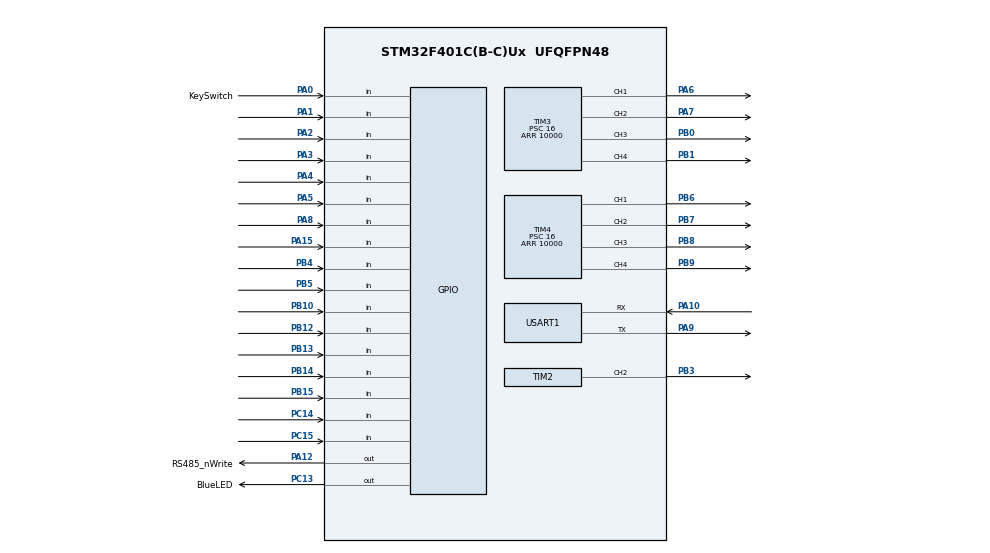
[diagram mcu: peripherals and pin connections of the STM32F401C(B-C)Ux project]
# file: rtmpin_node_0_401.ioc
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Dma.Request0=TIM2_CH2/CH4
Dma.TIM2_CH2/CH4.0.Direction=DMA_MEMORY_TO_PERIPH
Dma.TIM2_CH2/CH4.0.FIFOMode=DMA_FIFOMODE_DISABLE
Dma.TIM2_CH2/CH4.0.Instance=DMA1_Stream6
Dma.TIM2_CH2/CH4.0.MemDataAlignment=DMA_MDATAALIGN_WORD
Dma.TIM2_CH2/CH4.0.MemInc=DMA_MINC_ENABLE
Dma.TIM2_CH2/CH4.0.Mode=DMA_CIRCULAR
Dma.TIM2_CH2/CH4.0.PeriphDataAlignment=DMA_PDATAALIGN_WORD
Dma.TIM2_CH2/CH4.0.PeriphInc=DMA_PINC_DISABLE
Dma.TIM2_CH2/CH4.0.Priority=DMA_PRIORITY_HIGH
Mcu.Family=STM32F4
Mcu.Name=STM32F401C(B-C)Ux
Mcu.Package=UFQFPN48
Mcu.UserConstants=SOLFORCE25,4300;SOLFORCE50,7500
NVIC.DMA1_Stream6_IRQn=true\:0\:0\:false\:false\:true\:false\:true
NVIC.PriorityGroup=NVIC_PRIORITYGROUP_4
NVIC.USART1_IRQn=true\:8\:0\:true\:false\:true\:true\:true
PA0-WKUP.GPIO_Label=KeySwitch
PA0-WKUP.Signal=GPIO_Input
PA1.GPIO_PuPd=GPIO_PULLUP
PA1.Signal=GPIO_Input
PA10.Mode=Asynchronous
PA10.Signal=USART1_RX
PA11.Signal=S_TIM1_CH4
PA12.GPIO_Label=RS485_nWrite
PA12.GPIO_PuPd=GPIO_NOPULL
PA12.Signal=GPIO_Output
PA13.Mode=Serial_Wire
PA13.Signal=SYS_JTMS-SWDIO
PA14.Mode=Serial_Wire
PA14.Signal=SYS_JTCK-SWCLK
PA15.GPIO_PuPd=GPIO_PULLUP
PA15.Signal=GPIO_Input
PA2.GPIO_PuPd=GPIO_PULLUP
PA2.Signal=GPIO_Input
PA3.GPIO_PuPd=GPIO_PULLUP
PA3.Signal=GPIO_Input
PA4.GPIO_PuPd=GPIO_PULLUP
PA4.Signal=GPIO_Input
PA5.GPIO_PuPd=GPIO_PULLUP
PA5.Signal=GPIO_Input
PA6.Signal=S_TIM3_CH1
PA7.Signal=S_TIM3_CH2
PA8.GPIO_PuPd=GPIO_PULLUP
PA8.Signal=GPIO_Input
PA9.Mode=Asynchronous
PA9.Signal=USART1_TX
PB0.Signal=S_TIM3_CH3
PB1.Signal=S_TIM3_CH4
PB10.GPIO_PuPd=GPIO_PULLUP
PB10.Signal=GPIO_Input
PB12.GPIO_PuPd=GPIO_PULLUP
PB12.Signal=GPIO_Input
PB13.GPIO_PuPd=GPIO_PULLUP
PB13.Signal=GPIO_Input
PB14.GPIO_PuPd=GPIO_PULLUP
PB14.Signal=GPIO_Input
PB15.GPIO_PuPd=GPIO_PULLUP
PB15.Signal=GPIO_Input
PB3.Signal=S_TIM2_CH2
PB4.GPIO_PuPd=GPIO_PULLUP
PB4.Signal=GPIO_Input
PB5.GPIO_PuPd=GPIO_PULLUP
PB5.Signal=GPIO_Input
PB6.Signal=S_TIM4_CH1
PB7.Signal=S_TIM4_CH2
PB8.Signal=S_TIM4_CH3
PB9.Signal=S_TIM4_CH4
PC13-ANTI_TAMP.GPIO_Label=BlueLED
PC13-ANTI_TAMP.Signal=GPIO_Output
PC14-OSC32_IN.GPIO_PuPd=GPIO_PULLUP
PC14-OSC32_IN.Signal=GPIO_Input
PC15-OSC32_OUT.GPIO_PuPd=GPIO_PULLUP
PC15-OSC32_OUT.Signal=GPIO_Input
PH0\ -\ OSC_IN.Mode=HSE-External-Oscillator
PH0\ -\ OSC_IN.Signal=RCC_OSC_IN
PH1\ -\ OSC_OUT.Mode=HSE-External-Oscillator
PH1\ -\ OSC_OUT.Signal=RCC_OSC_OUT
ProjectManager.HeapSize=0x200
ProjectManager.StackSize=0x400
ProjectManager.TargetToolchain=STM32CubeIDE
RCC.48MHZClocksFreq_Value=42000000
RCC.AHBFreq_Value=84000000
RCC.APB1CLKDivider=RCC_HCLK_DIV2
RCC.APB1Freq_Value=42000000
RCC.APB1TimFreq_Value=84000000
RCC.APB2Freq_Value=84000000
RCC.APB2TimFreq_Value=84000000
RCC.CortexFreq_Value=84000000
RCC.HCLKFreq_Value=84000000
RCC.HSE_VALUE=25000000
RCC.HSI_VALUE=16000000
RCC.LSE_VALUE=32768
RCC.PLLM=25
RCC.PLLN=168
RCC.PLLSourceVirtual=RCC_PLLSOURCE_HSE
RCC.SYSCLKFreq_VALUE=84000000
RCC.SYSCLKSource=RCC_SYSCLKSOURCE_PLLCLK
RCC.VCOOutputFreq_Value=168000000
SH.S_TIM1_CH4.0=TIM1_CH4
SH.S_TIM2_CH2.0=TIM2_CH2,PWM Generation2 CH2
SH.S_TIM3_CH1.0=TIM3_CH1,PWM Generation1 CH1
SH.S_TIM3_CH2.0=TIM3_CH2,PWM Generation2 CH2
SH.S_TIM3_CH3.0=TIM3_CH3,PWM Generation3 CH3
SH.S_TIM3_CH4.0=TIM3_CH4,PWM Generation4 CH4
SH.S_TIM4_CH1.0=TIM4_CH1,PWM Generation1 CH1
SH.S_TIM4_CH2.0=TIM4_CH2,PWM Generation2 CH2
SH.S_TIM4_CH3.0=TIM4_CH3,PWM Generation3 CH3
SH.S_TIM4_CH4.0=TIM4_CH4,PWM Generation4 CH4
TIM2.Channel-PWM\ Generation2\ CH2=TIM_CHANNEL_2
TIM2.Period=104
TIM2.Pulse-PWM\ Generation2\ CH2=0
TIM3.Channel-PWM\ Generation1\ CH1=TIM_CHANNEL_1
TIM3.Channel-PWM\ Generation2\ CH2=TIM_CHANNEL_2
TIM3.Channel-PWM\ Generation3\ CH3=TIM_CHANNEL_3
TIM3.Channel-PWM\ Generation4\ CH4=TIM_CHANNEL_4
TIM3.Period=10000
TIM3.Prescaler=16
TIM3.Pulse-PWM\ Generation1\ CH1=SOLFORCE25
TIM3.Pulse-PWM\ Generation2\ CH2=SOLFORCE50
TIM3.Pulse-PWM\ Generation3\ CH3=9000
TIM3.Pulse-PWM\ Generation4\ CH4=SOLFORCE25
TIM4.Channel-PWM\ Generation1\ CH1=TIM_CHANNEL_1
TIM4.Channel-PWM\ Generation2\ CH2=TIM_CHANNEL_2
TIM4.Channel-PWM\ Generation3\ CH3=TIM_CHANNEL_3
TIM4.Channel-PWM\ Generation4\ CH4=TIM_CHANNEL_4
TIM4.Period=10000
TIM4.Prescaler=16
TIM4.Pulse-PWM\ Generation1\ CH1=SOLFORCE25
TIM4.Pulse-PWM\ Generation2\ CH2=SOLFORCE25
TIM4.Pulse-PWM\ Generation3\ CH3=SOLFORCE50
TIM4.Pulse-PWM\ Generation4\ CH4=SOLFORCE50
USART1.VirtualMode=VM_ASYNC
VP_CRC_VS_CRC.Mode=CRC_Activate
VP_TIM2_VS_ClockSourceINT.Mode=Internal
VP_TIM3_VS_ClockSourceINT.Mode=Internal
VP_TIM4_VS_ClockSourceINT.Mode=Internal
board=custom

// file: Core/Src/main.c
/* USER CODE BEGIN Header */
/**
  ******************************************************************************
  * @file           : main.c
  * @brief          : Main program body
  ******************************************************************************
  * @attention
  *
  * Copyright (c) 2022 STMicroelectronics.
  * All rights reserved.
  *
  * This software is licensed under terms that can be found in the LICENSE file
  * in the root directory of this software component.
  * If no LICENSE file comes with this software, it is provided AS-IS.
  *
  ******************************************************************************
  */
/* USER CODE END Header */
#include "main.h"

CRC_HandleTypeDef hcrc;

/* USER CODE BEGIN PV */
uint8_t dataArrived = 0;
uint8_t currentRx = 0;

static uint32_t tmp_led_data[2*3*8];
static uint32_t current_led;        /*!< Current LED number we are sending */

uint32_t led[NR_OF_LEDS]; /* holds the color (0xWWRRGGBB) of all LEDs */

uint8_t rxBuffer[17]; /* addr&length + data (max 16) */
uint8_t rxBufferUpdated; /* new frame complete */
uint8_t nodeStatus; /*        * 0 -> standard (receiving) operation
                              * 1 -> send data to Pi
                              * 2 -> Software update of this node
                              * 3 -> Software update of other nodes */

/* USER CODE END PV */

void SystemClock_Config(void);
static void MX_GPIO_Init(void);
static void MX_DMA_Init(void);
static void MX_TIM2_Init(void);
static void MX_TIM3_Init(void);
static void MX_TIM4_Init(void);
static void MX_USART1_UART_Init(void);
static void MX_CRC_Init(void);

/* USER CODE BEGIN 0 */

/* Control of LED strips is  based on this idea: https://stm32f4-discovery.net/2018/06/tutorial-control-ws2812b-leds-stm32/ */
/**
 * \brief           Prepares data from memory for PWM output for timer
 * \note            Memory is in format R,G,B, while PWM must be configured in G,R,B
 * \param[in]       ledx: LED index to set the color
 * \param[out]      ptr: Output array with at least LED_CFG_RAW_BYTES_PER_LED-words of memory
 *
 */
static uint8_t led_fill_led_pwm_data(uint8_t ledx, uint32_t* ptr) {
    uint8_t i;

    if (ledx < NR_OF_LEDS) {
        for (i = 0; i < 8; i++) {
            ptr[i] =        (led[ledx] & (1 << (15 - i))) ? (2 * TIM2->ARR / 3) : (TIM2->ARR / 3);
            ptr[8 + i] =    (led[ledx] & (1 << (23 - i))) ? (2 * TIM2->ARR / 3) : (TIM2->ARR / 3);
            ptr[16 + i] =   (led[ledx] & (1 << (7 - i))) ? (2 * TIM2->ARR / 3) : (TIM2->ARR / 3);
        }
        return 1;
    }
    return 0;
}

/**
 * \brief           Update sequence function, called on each DMA transfer complete or half-transfer complete events
 * \param[in]       tc: Transfer complete flag. Set to `1` on TC event, or `0` on HT event
 *
 * \note            TC = Transfer-Complete event, called at the end of block
 * \note            HT = Half-Transfer-Complete event, called in the middle of elements transfered by DMA
 *                  If block is 48 elements (our case),
 *                      HT is called when first LED_CFG_RAW_BYTES_PER_LED elements are transfered,
 *                      TC is called when second LED_CFG_RAW_BYTES_PER_LED elements are transfered.
 *
 * \note            This function must be called from DMA interrupt
 */
void led_update_sequence(uint8_t tc) {
    tc = !!tc;                                  /* Convert to 1 or 0 value only */

    if (current_led < NR_OF_LEDS) {

			current_led++;
			/*
			 *  if there was no TC event (it was HT):
			 *
			 *  - Prepare first part of array, because either there is no transfer
			 *      or second part (from HT to TC) is now in process for PWM transfer
			 *
			 * In other case (TC = 1)
			 */
			if (!tc) {
				led_fill_led_pwm_data(current_led, &tmp_led_data[0]);
			} else {
				led_fill_led_pwm_data(current_led, &tmp_led_data[3*8]);
			}

	/*
	 * When we reached all leds, we have to wait to transmit data for all leds before we can disable DMA and PWM:
	 *
	 *  - If TC event is enabled and we have EVEN number of LEDS (2, 4, 6, ...)
	 *  - If HT event is enabled and we have ODD number of LEDS (1, 3, 5, ...)
	 */
	} else if ((!tc && (NR_OF_LEDS & 0x01)) || (tc && !(NR_OF_LEDS & 0x01))) {
		LL_TIM_CC_DisableChannel(TIM2, LL_TIM_CHANNEL_CH2); /* Disable channel */
		LL_TIM_DisableCounter(TIM2);
		LL_DMA_DisableStream(DMA1, LL_DMA_STREAM_6);
	}
}

/*
 * Process data after UART interrupt: byte received
 */
void handleSerialData() {
	static uint32_t lastTick;
	static uint8_t rxLength; /* number of data bytes to be received. addr&length not counted;  */
	static uint8_t rxByteNr;  /* index of received byte (start with 0) */
	static uint8_t rxAddress; /* node to be addressed, read from first byte */
	static uint8_t nodesSending; /* mode when nodes are sending and Pi is quiet */

	if ( (uwTick - lastTick) > 5 ) /* resync if there was no data for longer than 5 ms */
	{
		rxLength = 0;
		rxByteNr = 0;
		rxAddress = 0;
		nodesSending = 0;
	}
	lastTick = uwTick;

	if ( nodesSending ) {
		rxByteNr++;
		if ( rxByteNr == 2*NODE_ADDRESS ) { /* this node is about to send except if its node 0 */
			nodeStatus = 1;
			rxByteNr += 2;
		}
		if ( rxByteNr == 2*NR_OF_NODES ) { /* all nodes finished sending */
			nodesSending = 0;
			rxByteNr = 0;
		}
	} else {
		if ( rxByteNr == 0 ) {
			rxByteNr++;
			rxLength = currentRx & 0xf; /* get length */
			rxAddress = currentRx>>4;  /* get address */

			if ( rxLength == 0xf ) /* Software update */
			{
				rxLength = 16; /* 16 bytes, that it is a multiple of 4 (good for hardware-CRC calculation) */
				if ( rxAddress == NODE_ADDRESS )
				{
					nodeStatus = 2; /* Software update of this node */
				} else
				{
					nodeStatus = 3;  /* Software update of other node */
				}
			}

			if ( rxAddress == NODE_ADDRESS ) {
				rxBuffer[0] = currentRx;
			}

			if ( (rxAddress == 14) && (nodeStatus != 2) && (nodeStatus != 3) ) {
				if (NODE_ADDRESS == 0) { /* start sending if this is node 0 */
					nodeStatus = 1;
					rxByteNr = 2;
				} else {
					rxByteNr = 0;
				}
				if (NR_OF_NODES > 1) {
					nodesSending = 1; /* more nodes are connected */
				} else {
					rxByteNr = 0;  /* this is the one and only node */
				}
			}
		} else {
			if ( rxAddress == NODE_ADDRESS ) {
				rxBuffer[rxByteNr] = currentRx;
			}
			if (rxByteNr == rxLength) {
				rxByteNr = 0;
				if ( rxAddress == NODE_ADDRESS ) {
					rxBufferUpdated = 1;
				}
			} else {
				rxByteNr++;
			}
		}
	}

}

/* USER CODE END 0 */

int main(void)
{
  /* USER CODE BEGIN 1 */

	/* to be started form bootloader, see also
	 * https://embetronicx.com/tutorials/microcontrollers/stm32/bootloader/simple-stm32-bootloader-implementation-bootloader-tutorial/
	 * edit system_stm32f4xx.c as well to enter offset and #define USER_VECT_TAB_ADDRESS
	 * and edit linker script STM32F401CCUX_FLASH.ld */
	__disable_irq();
	SCB->VTOR = 0x8004000;
	__DSB();
	__enable_irq();

  /* USER CODE END 1 */

  /* MCU Configuration--------------------------------------------------------*/

  /* Reset of all peripherals, Initializes the Flash interface and the Systick. */
  HAL_Init();

  /* USER CODE BEGIN Init */
  rxBufferUpdated = 0;
  nodeStatus = 0;

  for (uint8_t bb = 0; bb < 17; bb++)
  {
	  rxBuffer[bb] = 0;
  }

  uint8_t txSwitchesByte1 = 0; /* all switches off */
  uint8_t txSwitchesByte2 = 0;
  uint8_t prevTxSwitchByte1 = 0;
  uint8_t prevTxSwitchByte2 = 0;
  uint8_t txByte1_transmitted = 0;
  uint32_t stReload;
  uint32_t stNow, stOld;
  uint32_t stTicks = 0;
  uint32_t slingPulse = 0;
  uint32_t readyToSendCounter = 0;
  uint32_t packetWatchDog = 0;

  /* USER CODE END Init */

  /* Configure the system clock */
  SystemClock_Config();

  /* Initialize all configured peripherals */
  MX_GPIO_Init();
  MX_DMA_Init();
  MX_TIM2_Init();
  MX_TIM3_Init();
  MX_TIM4_Init();
  MX_USART1_UART_Init();
  MX_CRC_Init();
  /* USER CODE BEGIN 2 */

  /* All outputs off */
  LL_TIM_CC_DisableChannel (TIM3, LL_TIM_CHANNEL_CH1);
  LL_TIM_CC_DisableChannel (TIM3, LL_TIM_CHANNEL_CH2);
  LL_TIM_CC_DisableChannel (TIM3, LL_TIM_CHANNEL_CH3);
  LL_TIM_CC_DisableChannel (TIM3, LL_TIM_CHANNEL_CH4);
  LL_TIM_CC_DisableChannel (TIM4, LL_TIM_CHANNEL_CH1);
  LL_TIM_CC_DisableChannel (TIM4, LL_TIM_CHANNEL_CH2);
  LL_TIM_CC_DisableChannel (TIM4, LL_TIM_CHANNEL_CH3);
  LL_TIM_CC_DisableChannel (TIM4, LL_TIM_CHANNEL_CH4);
  LL_TIM_EnableCounter(TIM3);
  LL_TIM_EnableCounter(TIM4);

  stOld = SysTick->VAL;
  stReload = SysTick->LOAD;

  /* USER CODE END 2 */

  /* Infinite loop */
  /* USER CODE BEGIN WHILE */
  while (1)
  {
		/* count systicks. Only works that easy as the while loop is shorter
		 * than 1 ms!! Ohterwise make a systick interrupt or use uwtick (overflow
		 * only after 30 days
		 */
	    stNow = SysTick->VAL;
		if( stNow != stOld )
		{
			if ( stNow < stOld )
			{
				stTicks = (stOld - stNow);
			}
			else
			{
				stTicks = (stReload - stNow + stOld);
			}
			stOld = stNow;
		}

		if(dataArrived)
		{
			dataArrived = 0;
			handleSerialData();
		}

		/* ---------- SW update  ----------- */

		if (rxBufferUpdated && (nodeStatus == 3) ) /* Software update of other node */
		{
			  NVIC_DisableIRQ(USART1_IRQn);
			  /* All outputs off */
			  LL_TIM_CC_DisableChannel (TIM3, LL_TIM_CHANNEL_CH1);
			  LL_TIM_CC_DisableChannel (TIM3, LL_TIM_CHANNEL_CH2);
			  LL_TIM_CC_DisableChannel (TIM3, LL_TIM_CHANNEL_CH3);
			  LL_TIM_CC_DisableChannel (TIM3, LL_TIM_CHANNEL_CH4);
			  LL_TIM_CC_DisableChannel (TIM4, LL_TIM_CHANNEL_CH1);
			  LL_TIM_CC_DisableChannel (TIM4, LL_TIM_CHANNEL_CH2);
			  LL_TIM_CC_DisableChannel (TIM4, LL_TIM_CHANNEL_CH3);
			  LL_TIM_CC_DisableChannel (TIM4, LL_TIM_CHANNEL_CH4);
			  LL_TIM_EnableCounter(TIM3);
			  LL_TIM_EnableCounter(TIM4);
			  txSwitchesByte1 = 0; /* all switches off */
			  txSwitchesByte2 = 0;
			  prevTxSwitchByte1 = 0;
			  prevTxSwitchByte2 = 0;
			  LL_GPIO_ResetOutputPin(BlueLED_GPIO_Port, BlueLED_Pin);

	  		  HAL_Delay(20000);
			  NVIC_SystemReset();
		}

		/* write new code to flash and reset */
		if (rxBufferUpdated && (nodeStatus == 2) ) /* Software update */
		{
			uint8_t ww = 0;
			uint32_t loopcounter = 0; /* timer */
			uint8_t blbl = 0; /* blink blink - so oft wird geblinkt */
			uint32_t writeAddress = 0x08020000; /* begin of sector 5 */
			HAL_FLASH_Unlock();

			while (1)
			{
				if(dataArrived)
				{
					dataArrived = 0;
					handleSerialData();
				}

				if (rxBufferUpdated && (nodeStatus == 2) )
				{
					rxBufferUpdated = 0;
					loopcounter = 0;
					LL_GPIO_TogglePin (GPIOC, LL_GPIO_PIN_13);
					for (ww = 0; ww < 16; ww++)
					{
						HAL_FLASH_Program(FLASH_TYPEPROGRAM_BYTE, writeAddress, ((uint8_t *)(rxBuffer+1))[ww] );
						writeAddress++;
					}
				}
				loopcounter++;
				if ( loopcounter > 3000000 ) /* ganz grob eine Sekunde */
				{
					LL_GPIO_TogglePin (GPIOC, LL_GPIO_PIN_13);
					loopcounter = 0;
					blbl++;
				}
				if (blbl == 6) NVIC_SystemReset();
			}
		}
		/* ---------- SW update end ----------- */

		if (rxBufferUpdated)
		{
		  LL_GPIO_TogglePin (GPIOC, LL_GPIO_PIN_13);
		  rxBufferUpdated = 0;
		  packetWatchDog = 0;

		  led[0] = ((rxBuffer[2]>>7)&1) ? WHITE : BLACK; /* nc */
		  led[1] = ((rxBuffer[2]>>6)&1) ? ORANGE : BLACK; /* GI */
		  led[2] = ((rxBuffer[2]>>5)&1) ? WHITE : BLACK; /* GI */
		  led[3] = ((rxBuffer[2]>>4)&1) ? WHITE : BLACK;
		  led[4] = ((rxBuffer[2]>>3)&1) ? WHITE : BLACK;
		  led[5] = ((rxBuffer[2]>>2)&1) ? WHITE : BLACK;
		  led[6] = ((rxBuffer[2]>>1)&1) ? BLACK : BLACK; /* nc */
		  led[7] = ((rxBuffer[2]>>0)&1) ? ORANGE : BLACK;

		  led[8] = ((rxBuffer[3]>>7)&1) ? RED : BLACK;
		  led[9] = ((rxBuffer[3]>>6)&1) ? WHITE : BLACK;
		  led[10] = ((rxBuffer[3]>>5)&1) ? GREEN : BLACK;
		  led[11] = ((rxBuffer[3]>>4)&1) ? GREEN : BLACK;
		  led[12] = ((rxBuffer[3]>>3)&1) ? GREEN : BLACK;
		  led[13] = ((rxBuffer[3]>>2)&1) ? GREEN : BLACK;
		  led[14] = ((rxBuffer[3]>>1)&1) ? ORANGE : BLACK;
		  led[15] = ((rxBuffer[3]>>0)&1) ? RED : BLACK;

		  led[16] = ((rxBuffer[4]>>7)&1) ? ORANGE : BLACK;
		  led[17] = ((rxBuffer[4]>>6)&1) ? RED : BLACK;
		  led[18] = ((rxBuffer[4]>>5)&1) ? RED : BLACK;
		  led[19] = ((rxBuffer[4]>>4)&1) ? RED : BLACK;
		  led[20] = ((rxBuffer[4]>>3)&1) ? BLACK : BLACK;
		  led[21] = ((rxBuffer[4]>>2)&1) ? RED : BLACK;
		  led[22] = ((rxBuffer[4]>>1)&1) ? RED : BLACK;
		  led[23] = ((rxBuffer[4]>>0)&1) ? RED : BLACK;

		  led[24] = ((rxBuffer[5]>>7)&1) ? RED : BLACK;
		  led[25] = ((rxBuffer[5]>>6)&1) ? RED : BLACK;
		  led[26] = ((rxBuffer[5]>>5)&1) ? WHITE : BLACK;
		  led[27] = ((rxBuffer[5]>>4)&1) ? RED : BLACK;
		  led[28] = ((rxBuffer[5]>>3)&1) ? WHITE : BLACK;
		  led[29] = ((rxBuffer[5]>>2)&1) ? RED : BLACK;
		  led[30] = ((rxBuffer[5]>>1)&1) ? WHITE : BLACK;
		  led[31] = ((rxBuffer[5]>>0)&1) ? RED : BLACK;

		  led[32] = ((rxBuffer[6]>>7)&1) ? RED : BLACK;
		  led[33] = ((rxBuffer[6]>>6)&1) ? RED : BLACK;
		  led[34] = ((rxBuffer[6]>>5)&1) ? WHITE : BLACK;
		  led[35] = ((rxBuffer[6]>>4)&1) ? WHITE : BLACK;
		  led[36] = ((rxBuffer[6]>>3)&1) ? WHITE : BLACK;
		  led[37] = ((rxBuffer[6]>>2)&1) ? RED : BLACK;
		  led[38] = ((rxBuffer[6]>>1)&1) ? RED : BLACK;
		  led[39] = ((rxBuffer[6]>>0)&1) ? RED : BLACK;

		  led[40] = ((rxBuffer[7]>>7)&1) ? RED : BLACK;
		  led[41] = ((rxBuffer[7]>>6)&1) ? RED : BLACK;
		  led[42] = ((rxBuffer[7]>>5)&1) ? RED : BLACK;
		  led[43] = ((rxBuffer[7]>>4)&1) ? WHITE : BLACK;
		  led[44] = ((rxBuffer[7]>>6)&1) ? WHITE : BLACK;
		  led[45] = ((rxBuffer[7]>>5)&1) ? WHITE : BLACK;
		  led[46] = ((rxBuffer[7]>>4)&1) ? WHITE : BLACK;

		  current_led = 0;
		  led_fill_led_pwm_data(current_led, &tmp_led_data[0]); /* first LED */
		  current_led++;
		  led_fill_led_pwm_data(current_led, &tmp_led_data[3*8]); /* second LED */

	      LL_DMA_ClearFlag_TC6(DMA1);
	      LL_DMA_ClearFlag_HT6(DMA1);
	      LL_DMA_EnableStream(DMA1, LL_DMA_STREAM_6);
	      LL_TIM_SetCounter (TIM2, 0);
	      LL_TIM_EnableCounter(TIM2);
	      LL_TIM_CC_EnableChannel(TIM2, LL_TIM_CHANNEL_CH2);

			/* Set and reset outputs (solenoids, magnets, flashers) */
			/* OB8 */
			/* OB8 -> right flipper controlled by flipper button. Pi only enables flipper generally (e.g. not tilt)
			((rxBuffer[1]>>7)&1) ?
				LL_TIM_CC_EnableChannel (TIM4, LL_TIM_CHANNEL_CH3) : LL_TIM_CC_EnableChannel (TIM4, LL_TIM_CHANNEL_CH3);*/
			/* OB9 */
			((rxBuffer[1]>>6)&1) ?
				LL_TIM_CC_EnableChannel (TIM4, LL_TIM_CHANNEL_CH4) : LL_TIM_CC_DisableChannel (TIM4, LL_TIM_CHANNEL_CH4);
			/* OB1 */
			((rxBuffer[1]>>5)&1) ?
				LL_TIM_CC_EnableChannel (TIM3, LL_TIM_CHANNEL_CH4) : LL_TIM_CC_DisableChannel (TIM3, LL_TIM_CHANNEL_CH4);
			/* OB6 */
			((rxBuffer[1]>>4)&1) ?
				LL_TIM_CC_EnableChannel (TIM4, LL_TIM_CHANNEL_CH1) : LL_TIM_CC_DisableChannel (TIM4, LL_TIM_CHANNEL_CH1);
			/* OB7 */
			/* OB7 -> right sling shot controlled by switch -> see later in code. Pi only enables sling generally */
			/*((rxBuffer[1]>>3)&1) ?
				LL_TIM_CC_EnableChannel (TIM4, LL_TIM_CHANNEL_CH2) : LL_TIM_CC_DisableChannel (TIM4, LL_TIM_CHANNEL_CH2);*/
			/* OA6 */
			((rxBuffer[1]>>2)&1) ?
				LL_TIM_CC_EnableChannel (TIM3, LL_TIM_CHANNEL_CH1) : LL_TIM_CC_DisableChannel (TIM3, LL_TIM_CHANNEL_CH1);
			/* OA7 */
			((rxBuffer[1]>>1)&1) ?
				LL_TIM_CC_EnableChannel (TIM3, LL_TIM_CHANNEL_CH2) : LL_TIM_CC_DisableChannel (TIM3, LL_TIM_CHANNEL_CH2);
			/* OB0 */
			((rxBuffer[1]>>0)&1) ?
				LL_TIM_CC_EnableChannel (TIM3, LL_TIM_CHANNEL_CH3) : LL_TIM_CC_DisableChannel (TIM3, LL_TIM_CHANNEL_CH3);

		}

	    /* Poll switches and remember if they where activated until they are reset to 0 with
	     * after sent to Pi */
		txSwitchesByte1 |= (
			    LL_GPIO_IsInputPinSet (GPIOA, LL_GPIO_PIN_8)<<7 |
				LL_GPIO_IsInputPinSet (GPIOA, LL_GPIO_PIN_5)<<6 |
				LL_GPIO_IsInputPinSet (GPIOA, LL_GPIO_PIN_4)<<5 |
				LL_GPIO_IsInputPinSet (GPIOA, LL_GPIO_PIN_3)<<4 |
				LL_GPIO_IsInputPinSet (GPIOA, LL_GPIO_PIN_2)<<3 |
				LL_GPIO_IsInputPinSet (GPIOA, LL_GPIO_PIN_1)<<2 |
				LL_GPIO_IsInputPinSet (GPIOB, LL_GPIO_PIN_13)<<1 |
				LL_GPIO_IsInputPinSet (GPIOB, LL_GPIO_PIN_12));
		txSwitchesByte2 |= (
				LL_GPIO_IsInputPinSet (GPIOB, LL_GPIO_PIN_10)<<7 |
				LL_GPIO_IsInputPinSet (GPIOB, LL_GPIO_PIN_5)<<6 |
				LL_GPIO_IsInputPinSet (GPIOB, LL_GPIO_PIN_4)<<5 |
				LL_GPIO_IsInputPinSet (GPIOA, LL_GPIO_PIN_15)<<4 |
				LL_GPIO_IsInputPinSet (GPIOC, LL_GPIO_PIN_15)<<3 |
				LL_GPIO_IsInputPinSet (GPIOC, LL_GPIO_PIN_14)<<2 |
				LL_GPIO_IsInputPinSet (GPIOB, LL_GPIO_PIN_15)<<1 |
				LL_GPIO_IsInputPinSet (GPIOB, LL_GPIO_PIN_14));

		/* set fast solenoids (controlled solenoids by stwitch) */

		/* right flipper Button pressed and enabled, don't use
		 * txSwitchesByte1 here (as they stay 1 until transferred to Pi) */
		if ( LL_GPIO_IsInputPinSet (GPIOA, LL_GPIO_PIN_1) && ((rxBuffer[1]>>7)&1) )
		{
			LL_TIM_CC_EnableChannel (TIM4, LL_TIM_CHANNEL_CH3);
			LL_TIM_CC_DisableChannel (TIM4, LL_TIM_CHANNEL_CH4); /* magnet off */
		}
		else
		{
			LL_TIM_CC_DisableChannel (TIM4, LL_TIM_CHANNEL_CH3);
		}
		/* rising edge of right sling shot switch */
		if ( ((txSwitchesByte2>>7)&1) && !((prevTxSwitchByte2>>7)&1) && ((rxBuffer[1]>>3)&1) && !slingPulse )
		{
			slingPulse = 1;
			LL_TIM_CC_EnableChannel (TIM4, LL_TIM_CHANNEL_CH2);
		}
		if ( slingPulse ) slingPulse += stTicks;
		if ( slingPulse > 3360000 ) LL_TIM_CC_DisableChannel (TIM4, LL_TIM_CHANNEL_CH2); /* 40 ms @ 84 MHz */
		if ( slingPulse > 33600000 ) slingPulse = 0; /* anti bouncing 400 ms @ 84 MHz */

		/* send status to Pi, currently only switch states */
		if ( nodeStatus == 1 )
		{
			/* wait a little (minimum half a bit with) to be sure that TransmitComplete of previous node
			 * is done and RS485 bus is free */
			if ( readyToSendCounter > 4200 ) /* 50 µs @ 84 MHz */
			{
				if ( LL_USART_IsActiveFlag_TXE(USART1) && (!txByte1_transmitted) )
				{
					LL_GPIO_SetOutputPin (GPIOA, RS485_nWrite_Pin);
					LL_USART_TransmitData8 (USART1, txSwitchesByte1);
					txByte1_transmitted = 1;
				}
				if ( LL_USART_IsActiveFlag_TXE(USART1) && txByte1_transmitted ) {
						LL_USART_TransmitData8 (USART1, txSwitchesByte2);
						nodeStatus = 0;
						txByte1_transmitted = 0;
						readyToSendCounter = 0;
						txSwitchesByte1 = 0;
						txSwitchesByte2 = 0;
				}
			}
			readyToSendCounter += stTicks;

			/* Timeout SENDING Status after 5 ms @ 84 MHz */
			if ( readyToSendCounter > 420000 )
			{
				nodeStatus = 0;
				readyToSendCounter = 0;
				txByte1_transmitted = 0;
			}
		}

		prevTxSwitchByte1 = txSwitchesByte1; /* for edge detection */
		prevTxSwitchByte2 = txSwitchesByte2;

		/* Paketintervall-Überwachung*/
		packetWatchDog += stTicks;
		/* toggle LED after 4 seconds */
		if ( packetWatchDog > 336000000 ) LL_GPIO_TogglePin (GPIOC, LL_GPIO_PIN_13);
		/* Timeout WatchDog: 5 s @ 84 MHz */
		if ( packetWatchDog > 420000000 )
		{
			NVIC_SystemReset();
		}

  }
    /* USER CODE END WHILE */

}

void SystemClock_Config(void)
{
  LL_FLASH_SetLatency(LL_FLASH_LATENCY_2);
  while(LL_FLASH_GetLatency()!= LL_FLASH_LATENCY_2)
  {
  }
  LL_PWR_SetRegulVoltageScaling(LL_PWR_REGU_VOLTAGE_SCALE2);
  LL_RCC_HSE_Enable();

   /* Wait till HSE is ready */
  while(LL_RCC_HSE_IsReady() != 1)
  {

  }
  LL_RCC_PLL_ConfigDomain_SYS(LL_RCC_PLLSOURCE_HSE, LL_RCC_PLLM_DIV_25, 168, LL_RCC_PLLP_DIV_2);
  LL_RCC_PLL_Enable();

   /* Wait till PLL is ready */
  while(LL_RCC_PLL_IsReady() != 1)
  {

  }
  LL_RCC_SetAHBPrescaler(LL_RCC_SYSCLK_DIV_1);
  LL_RCC_SetAPB1Prescaler(LL_RCC_APB1_DIV_2);
  LL_RCC_SetAPB2Prescaler(LL_RCC_APB2_DIV_1);
  LL_RCC_SetSysClkSource(LL_RCC_SYS_CLKSOURCE_PLL);

   /* Wait till System clock is ready */
  while(LL_RCC_GetSysClkSource() != LL_RCC_SYS_CLKSOURCE_STATUS_PLL)
  {

  }
  LL_SetSystemCoreClock(84000000);

   /* Update the time base */
  if (HAL_InitTick (TICK_INT_PRIORITY) != HAL_OK)
  {
    Error_Handler();
  }
  LL_RCC_SetTIMPrescaler(LL_RCC_TIM_PRESCALER_TWICE);
}

static void MX_CRC_Init(void)
{

  hcrc.Instance = CRC;
  if (HAL_CRC_Init(&hcrc) != HAL_OK)
  {
    Error_Handler();
  }

}

static void MX_TIM2_Init(void)
{

  LL_TIM_InitTypeDef TIM_InitStruct = {0};
  LL_TIM_OC_InitTypeDef TIM_OC_InitStruct = {0};

  LL_GPIO_InitTypeDef GPIO_InitStruct = {0};

  /* Peripheral clock enable */
  LL_APB1_GRP1_EnableClock(LL_APB1_GRP1_PERIPH_TIM2);

  /* TIM2 DMA Init */

  /* TIM2_CH2_CH4 Init */
  LL_DMA_SetChannelSelection(DMA1, LL_DMA_STREAM_6, LL_DMA_CHANNEL_3);

  LL_DMA_SetDataTransferDirection(DMA1, LL_DMA_STREAM_6, LL_DMA_DIRECTION_MEMORY_TO_PERIPH);

  LL_DMA_SetStreamPriorityLevel(DMA1, LL_DMA_STREAM_6, LL_DMA_PRIORITY_HIGH);

  LL_DMA_SetMode(DMA1, LL_DMA_STREAM_6, LL_DMA_MODE_CIRCULAR);

  LL_DMA_SetPeriphIncMode(DMA1, LL_DMA_STREAM_6, LL_DMA_PERIPH_NOINCREMENT);

  LL_DMA_SetMemoryIncMode(DMA1, LL_DMA_STREAM_6, LL_DMA_MEMORY_INCREMENT);

  LL_DMA_SetPeriphSize(DMA1, LL_DMA_STREAM_6, LL_DMA_PDATAALIGN_WORD);

  LL_DMA_SetMemorySize(DMA1, LL_DMA_STREAM_6, LL_DMA_MDATAALIGN_WORD);

  LL_DMA_DisableFifoMode(DMA1, LL_DMA_STREAM_6);

  /* USER CODE BEGIN TIM2_Init 1 */
  LL_DMA_SetPeriphAddress(DMA1, LL_DMA_STREAM_6, (uint32_t)&TIM2->CCR2);
  LL_DMA_SetMemoryAddress(DMA1, LL_DMA_STREAM_6, (uint32_t)tmp_led_data);
  LL_DMA_SetDataLength(DMA1, LL_DMA_STREAM_6, 2*3*8);
  LL_DMA_EnableIT_TC(DMA1, LL_DMA_STREAM_6);
  LL_DMA_EnableIT_HT(DMA1, LL_DMA_STREAM_6);

  /* USER CODE END TIM2_Init 1 */
  TIM_InitStruct.Prescaler = 0;
  TIM_InitStruct.CounterMode = LL_TIM_COUNTERMODE_UP;
  TIM_InitStruct.Autoreload = 104;
  TIM_InitStruct.ClockDivision = LL_TIM_CLOCKDIVISION_DIV1;
  LL_TIM_Init(TIM2, &TIM_InitStruct);
  LL_TIM_DisableARRPreload(TIM2);
  LL_TIM_SetClockSource(TIM2, LL_TIM_CLOCKSOURCE_INTERNAL);
  LL_TIM_OC_EnablePreload(TIM2, LL_TIM_CHANNEL_CH2);
  TIM_OC_InitStruct.OCMode = LL_TIM_OCMODE_PWM1;
  TIM_OC_InitStruct.OCState = LL_TIM_OCSTATE_DISABLE;
  TIM_OC_InitStruct.OCNState = LL_TIM_OCSTATE_DISABLE;
  TIM_OC_InitStruct.CompareValue = 0;
  TIM_OC_InitStruct.OCPolarity = LL_TIM_OCPOLARITY_HIGH;
  LL_TIM_OC_Init(TIM2, LL_TIM_CHANNEL_CH2, &TIM_OC_InitStruct);
  LL_TIM_OC_DisableFast(TIM2, LL_TIM_CHANNEL_CH2);
  LL_TIM_SetTriggerOutput(TIM2, LL_TIM_TRGO_RESET);
  LL_TIM_DisableMasterSlaveMode(TIM2);
  /* USER CODE BEGIN TIM2_Init 2 */
  LL_TIM_EnableDMAReq_CC2(TIM2);              /* Enable DMA requests */

  /* USER CODE END TIM2_Init 2 */
  LL_AHB1_GRP1_EnableClock(LL_AHB1_GRP1_PERIPH_GPIOB);
  /**TIM2 GPIO Configuration
  PB3   ------> TIM2_CH2
  */
  GPIO_InitStruct.Pin = LL_GPIO_PIN_3;
  GPIO_InitStruct.Mode = LL_GPIO_MODE_ALTERNATE;
  GPIO_InitStruct.Speed = LL_GPIO_SPEED_FREQ_LOW;
  GPIO_InitStruct.OutputType = LL_GPIO_OUTPUT_PUSHPULL;
  GPIO_InitStruct.Pull = LL_GPIO_PULL_NO;
  GPIO_InitStruct.Alternate = LL_GPIO_AF_1;
  LL_GPIO_Init(GPIOB, &GPIO_InitStruct);

}

static void MX_TIM3_Init(void)
{

  LL_TIM_InitTypeDef TIM_InitStruct = {0};
  LL_TIM_OC_InitTypeDef TIM_OC_InitStruct = {0};

  LL_GPIO_InitTypeDef GPIO_InitStruct = {0};

  /* Peripheral clock enable */
  LL_APB1_GRP1_EnableClock(LL_APB1_GRP1_PERIPH_TIM3);

  TIM_InitStruct.Prescaler = 16;
  TIM_InitStruct.CounterMode = LL_TIM_COUNTERMODE_UP;
  TIM_InitStruct.Autoreload = 10000;
  TIM_InitStruct.ClockDivision = LL_TIM_CLOCKDIVISION_DIV1;
  LL_TIM_Init(TIM3, &TIM_InitStruct);
  LL_TIM_DisableARRPreload(TIM3);
  LL_TIM_SetClockSource(TIM3, LL_TIM_CLOCKSOURCE_INTERNAL);
  LL_TIM_OC_EnablePreload(TIM3, LL_TIM_CHANNEL_CH1);
  TIM_OC_InitStruct.OCMode = LL_TIM_OCMODE_PWM1;
  TIM_OC_InitStruct.OCState = LL_TIM_OCSTATE_DISABLE;
  TIM_OC_InitStruct.OCNState = LL_TIM_OCSTATE_DISABLE;
  TIM_OC_InitStruct.CompareValue = SOLFORCE25;
  TIM_OC_InitStruct.OCPolarity = LL_TIM_OCPOLARITY_HIGH;
  LL_TIM_OC_Init(TIM3, LL_TIM_CHANNEL_CH1, &TIM_OC_InitStruct);
  LL_TIM_OC_DisableFast(TIM3, LL_TIM_CHANNEL_CH1);
  LL_TIM_OC_EnablePreload(TIM3, LL_TIM_CHANNEL_CH2);
  TIM_OC_InitStruct.CompareValue = SOLFORCE50;
  LL_TIM_OC_Init(TIM3, LL_TIM_CHANNEL_CH2, &TIM_OC_InitStruct);
  LL_TIM_OC_DisableFast(TIM3, LL_TIM_CHANNEL_CH2);
  LL_TIM_OC_EnablePreload(TIM3, LL_TIM_CHANNEL_CH3);
  TIM_OC_InitStruct.CompareValue = 9000;
  LL_TIM_OC_Init(TIM3, LL_TIM_CHANNEL_CH3, &TIM_OC_InitStruct);
  LL_TIM_OC_DisableFast(TIM3, LL_TIM_CHANNEL_CH3);
  LL_TIM_OC_EnablePreload(TIM3, LL_TIM_CHANNEL_CH4);
  TIM_OC_InitStruct.CompareValue = SOLFORCE25;
  LL_TIM_OC_Init(TIM3, LL_TIM_CHANNEL_CH4, &TIM_OC_InitStruct);
  LL_TIM_OC_DisableFast(TIM3, LL_TIM_CHANNEL_CH4);
  LL_TIM_SetTriggerOutput(TIM3, LL_TIM_TRGO_RESET);
  LL_TIM_DisableMasterSlaveMode(TIM3);
  LL_AHB1_GRP1_EnableClock(LL_AHB1_GRP1_PERIPH_GPIOA);
  LL_AHB1_GRP1_EnableClock(LL_AHB1_GRP1_PERIPH_GPIOB);
  /**TIM3 GPIO Configuration
  PA6   ------> TIM3_CH1
  PA7   ------> TIM3_CH2
  PB0   ------> TIM3_CH3
  PB1   ------> TIM3_CH4
  */
  GPIO_InitStruct.Pin = LL_GPIO_PIN_6|LL_GPIO_PIN_7;
  GPIO_InitStruct.Mode = LL_GPIO_MODE_ALTERNATE;
  GPIO_InitStruct.Speed = LL_GPIO_SPEED_FREQ_LOW;
  GPIO_InitStruct.OutputType = LL_GPIO_OUTPUT_PUSHPULL;
  GPIO_InitStruct.Pull = LL_GPIO_PULL_NO;
  GPIO_InitStruct.Alternate = LL_GPIO_AF_2;
  LL_GPIO_Init(GPIOA, &GPIO_InitStruct);

  GPIO_InitStruct.Pin = LL_GPIO_PIN_0|LL_GPIO_PIN_1;
  GPIO_InitStruct.Mode = LL_GPIO_MODE_ALTERNATE;
  GPIO_InitStruct.Speed = LL_GPIO_SPEED_FREQ_LOW;
  GPIO_InitStruct.OutputType = LL_GPIO_OUTPUT_PUSHPULL;
  GPIO_InitStruct.Pull = LL_GPIO_PULL_NO;
  GPIO_InitStruct.Alternate = LL_GPIO_AF_2;
  LL_GPIO_Init(GPIOB, &GPIO_InitStruct);

}

static void MX_TIM4_Init(void)
{

  LL_TIM_InitTypeDef TIM_InitStruct = {0};
  LL_TIM_OC_InitTypeDef TIM_OC_InitStruct = {0};

  LL_GPIO_InitTypeDef GPIO_InitStruct = {0};

  /* Peripheral clock enable */
  LL_APB1_GRP1_EnableClock(LL_APB1_GRP1_PERIPH_TIM4);

  TIM_InitStruct.Prescaler = 16;
  TIM_InitStruct.CounterMode = LL_TIM_COUNTERMODE_UP;
  TIM_InitStruct.Autoreload = 10000;
  TIM_InitStruct.ClockDivision = LL_TIM_CLOCKDIVISION_DIV1;
  LL_TIM_Init(TIM4, &TIM_InitStruct);
  LL_TIM_DisableARRPreload(TIM4);
  LL_TIM_SetClockSource(TIM4, LL_TIM_CLOCKSOURCE_INTERNAL);
  LL_TIM_OC_EnablePreload(TIM4, LL_TIM_CHANNEL_CH1);
  TIM_OC_InitStruct.OCMode = LL_TIM_OCMODE_PWM1;
  TIM_OC_InitStruct.OCState = LL_TIM_OCSTATE_DISABLE;
  TIM_OC_InitStruct.OCNState = LL_TIM_OCSTATE_DISABLE;
  TIM_OC_InitStruct.CompareValue = SOLFORCE25;
  TIM_OC_InitStruct.OCPolarity = LL_TIM_OCPOLARITY_HIGH;
  LL_TIM_OC_Init(TIM4, LL_TIM_CHANNEL_CH1, &TIM_OC_InitStruct);
  LL_TIM_OC_DisableFast(TIM4, LL_TIM_CHANNEL_CH1);
  LL_TIM_OC_EnablePreload(TIM4, LL_TIM_CHANNEL_CH2);
  LL_TIM_OC_Init(TIM4, LL_TIM_CHANNEL_CH2, &TIM_OC_InitStruct);
  LL_TIM_OC_DisableFast(TIM4, LL_TIM_CHANNEL_CH2);
  LL_TIM_OC_EnablePreload(TIM4, LL_TIM_CHANNEL_CH3);
  TIM_OC_InitStruct.CompareValue = SOLFORCE50;
  LL_TIM_OC_Init(TIM4, LL_TIM_CHANNEL_CH3, &TIM_OC_InitStruct);
  LL_TIM_OC_DisableFast(TIM4, LL_TIM_CHANNEL_CH3);
  LL_TIM_OC_EnablePreload(TIM4, LL_TIM_CHANNEL_CH4);
  LL_TIM_OC_Init(TIM4, LL_TIM_CHANNEL_CH4, &TIM_OC_InitStruct);
  LL_TIM_OC_DisableFast(TIM4, LL_TIM_CHANNEL_CH4);
  LL_TIM_SetTriggerOutput(TIM4, LL_TIM_TRGO_RESET);
  LL_TIM_DisableMasterSlaveMode(TIM4);
  LL_AHB1_GRP1_EnableClock(LL_AHB1_GRP1_PERIPH_GPIOB);
  /**TIM4 GPIO Configuration
  PB6   ------> TIM4_CH1
  PB7   ------> TIM4_CH2
  PB8   ------> TIM4_CH3
  PB9   ------> TIM4_CH4
  */
  GPIO_InitStruct.Pin = LL_GPIO_PIN_6|LL_GPIO_PIN_7|LL_GPIO_PIN_8|LL_GPIO_PIN_9;
  GPIO_InitStruct.Mode = LL_GPIO_MODE_ALTERNATE;
  GPIO_InitStruct.Speed = LL_GPIO_SPEED_FREQ_LOW;
  GPIO_InitStruct.OutputType = LL_GPIO_OUTPUT_PUSHPULL;
  GPIO_InitStruct.Pull = LL_GPIO_PULL_NO;
  GPIO_InitStruct.Alternate = LL_GPIO_AF_2;
  LL_GPIO_Init(GPIOB, &GPIO_InitStruct);

}

static void MX_USART1_UART_Init(void)
{

  LL_USART_InitTypeDef USART_InitStruct = {0};

  LL_GPIO_InitTypeDef GPIO_InitStruct = {0};

  /* Peripheral clock enable */
  LL_APB2_GRP1_EnableClock(LL_APB2_GRP1_PERIPH_USART1);

  LL_AHB1_GRP1_EnableClock(LL_AHB1_GRP1_PERIPH_GPIOA);
  /**USART1 GPIO Configuration
  PA9   ------> USART1_TX
  PA10   ------> USART1_RX
  */
  GPIO_InitStruct.Pin = LL_GPIO_PIN_9|LL_GPIO_PIN_10;
  GPIO_InitStruct.Mode = LL_GPIO_MODE_ALTERNATE;
  GPIO_InitStruct.Speed = LL_GPIO_SPEED_FREQ_VERY_HIGH;
  GPIO_InitStruct.OutputType = LL_GPIO_OUTPUT_PUSHPULL;
  GPIO_InitStruct.Pull = LL_GPIO_PULL_NO;
  GPIO_InitStruct.Alternate = LL_GPIO_AF_7;
  LL_GPIO_Init(GPIOA, &GPIO_InitStruct);

  /* USART1 interrupt Init */
  NVIC_SetPriority(USART1_IRQn, NVIC_EncodePriority(NVIC_GetPriorityGrouping(),8, 0));
  NVIC_EnableIRQ(USART1_IRQn);

  USART_InitStruct.BaudRate = 115200;
  USART_InitStruct.DataWidth = LL_USART_DATAWIDTH_8B;
  USART_InitStruct.StopBits = LL_USART_STOPBITS_1;
  USART_InitStruct.Parity = LL_USART_PARITY_NONE;
  USART_InitStruct.TransferDirection = LL_USART_DIRECTION_TX_RX;
  USART_InitStruct.HardwareFlowControl = LL_USART_HWCONTROL_NONE;
  USART_InitStruct.OverSampling = LL_USART_OVERSAMPLING_16;
  LL_USART_Init(USART1, &USART_InitStruct);
  LL_USART_ConfigAsyncMode(USART1);
  LL_USART_Enable(USART1);
  /* USER CODE BEGIN USART1_Init 2 */
  LL_USART_EnableIT_RXNE (USART1);
  LL_USART_EnableIT_TC (USART1);

  /* USER CODE END USART1_Init 2 */

}

static void MX_DMA_Init(void)
{

  /* Init with LL driver */
  /* DMA controller clock enable */
  LL_AHB1_GRP1_EnableClock(LL_AHB1_GRP1_PERIPH_DMA1);

  /* DMA interrupt init */
  /* DMA1_Stream6_IRQn interrupt configuration */
  NVIC_SetPriority(DMA1_Stream6_IRQn, NVIC_EncodePriority(NVIC_GetPriorityGrouping(),0, 0));
  NVIC_EnableIRQ(DMA1_Stream6_IRQn);

}

static void MX_GPIO_Init(void)
{
  LL_GPIO_InitTypeDef GPIO_InitStruct = {0};

  /* GPIO Ports Clock Enable */
  LL_AHB1_GRP1_EnableClock(LL_AHB1_GRP1_PERIPH_GPIOC);
  LL_AHB1_GRP1_EnableClock(LL_AHB1_GRP1_PERIPH_GPIOH);
  LL_AHB1_GRP1_EnableClock(LL_AHB1_GRP1_PERIPH_GPIOA);
  LL_AHB1_GRP1_EnableClock(LL_AHB1_GRP1_PERIPH_GPIOB);

  /**/
  LL_GPIO_ResetOutputPin(BlueLED_GPIO_Port, BlueLED_Pin);

  /**/
  LL_GPIO_ResetOutputPin(RS485_nWrite_GPIO_Port, RS485_nWrite_Pin);

  /**/
  GPIO_InitStruct.Pin = BlueLED_Pin;
  GPIO_InitStruct.Mode = LL_GPIO_MODE_OUTPUT;
  GPIO_InitStruct.Speed = LL_GPIO_SPEED_FREQ_LOW;
  GPIO_InitStruct.OutputType = LL_GPIO_OUTPUT_PUSHPULL;
  GPIO_InitStruct.Pull = LL_GPIO_PULL_NO;
  LL_GPIO_Init(BlueLED_GPIO_Port, &GPIO_InitStruct);

  /**/
  GPIO_InitStruct.Pin = LL_GPIO_PIN_14|LL_GPIO_PIN_15;
  GPIO_InitStruct.Mode = LL_GPIO_MODE_INPUT;
  GPIO_InitStruct.Pull = LL_GPIO_PULL_UP;
  LL_GPIO_Init(GPIOC, &GPIO_InitStruct);

  /**/
  GPIO_InitStruct.Pin = KeySwitch_Pin;
  GPIO_InitStruct.Mode = LL_GPIO_MODE_INPUT;
  GPIO_InitStruct.Pull = LL_GPIO_PULL_NO;
  LL_GPIO_Init(KeySwitch_GPIO_Port, &GPIO_InitStruct);

  /**/
  GPIO_InitStruct.Pin = LL_GPIO_PIN_1|LL_GPIO_PIN_2|LL_GPIO_PIN_3|LL_GPIO_PIN_4
                          |LL_GPIO_PIN_5|LL_GPIO_PIN_8|LL_GPIO_PIN_15;
  GPIO_InitStruct.Mode = LL_GPIO_MODE_INPUT;
  GPIO_InitStruct.Pull = LL_GPIO_PULL_UP;
  LL_GPIO_Init(GPIOA, &GPIO_InitStruct);

  /**/
  GPIO_InitStruct.Pin = LL_GPIO_PIN_10|LL_GPIO_PIN_12|LL_GPIO_PIN_13|LL_GPIO_PIN_14
                          |LL_GPIO_PIN_15|LL_GPIO_PIN_4|LL_GPIO_PIN_5;
  GPIO_InitStruct.Mode = LL_GPIO_MODE_INPUT;
  GPIO_InitStruct.Pull = LL_GPIO_PULL_UP;
  LL_GPIO_Init(GPIOB, &GPIO_InitStruct);

  /**/
  GPIO_InitStruct.Pin = LL_GPIO_PIN_11;
  GPIO_InitStruct.Mode = LL_GPIO_MODE_ALTERNATE;
  GPIO_InitStruct.Speed = LL_GPIO_SPEED_FREQ_LOW;
  GPIO_InitStruct.OutputType = LL_GPIO_OUTPUT_PUSHPULL;
  GPIO_InitStruct.Pull = LL_GPIO_PULL_NO;
  GPIO_InitStruct.Alternate = LL_GPIO_AF_1;
  LL_GPIO_Init(GPIOA, &GPIO_InitStruct);

  /**/
  GPIO_InitStruct.Pin = RS485_nWrite_Pin;
  GPIO_InitStruct.Mode = LL_GPIO_MODE_OUTPUT;
  GPIO_InitStruct.Speed = LL_GPIO_SPEED_FREQ_LOW;
  GPIO_InitStruct.OutputType = LL_GPIO_OUTPUT_PUSHPULL;
  GPIO_InitStruct.Pull = LL_GPIO_PULL_NO;
  LL_GPIO_Init(RS485_nWrite_GPIO_Port, &GPIO_InitStruct);

}

void Error_Handler(void)
{
  __disable_irq();
  while (1)
  {
  }
}
